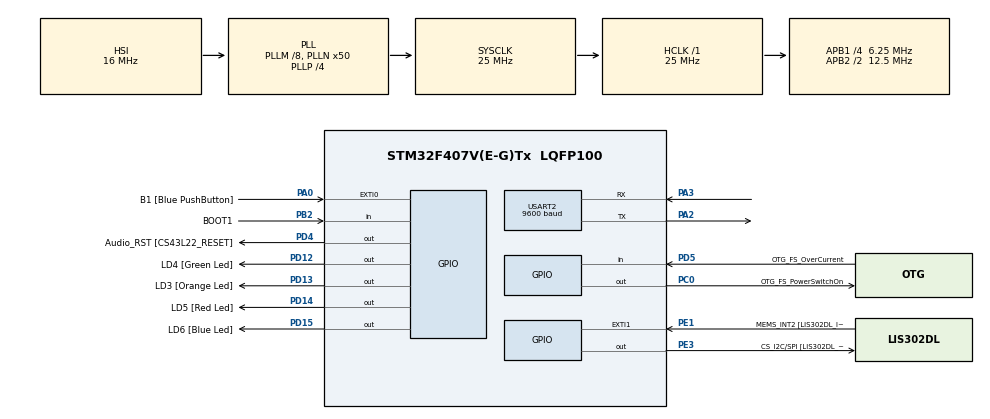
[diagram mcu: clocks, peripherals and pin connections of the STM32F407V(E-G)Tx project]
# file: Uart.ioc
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Dma.Request0=USART2_RX
Dma.Request1=USART2_TX
Dma.USART2_RX.0.Direction=DMA_PERIPH_TO_MEMORY
Dma.USART2_RX.0.FIFOMode=DMA_FIFOMODE_DISABLE
Dma.USART2_RX.0.Instance=DMA1_Stream5
Dma.USART2_RX.0.MemDataAlignment=DMA_MDATAALIGN_BYTE
Dma.USART2_RX.0.MemInc=DMA_MINC_ENABLE
Dma.USART2_RX.0.Mode=DMA_NORMAL
Dma.USART2_RX.0.PeriphDataAlignment=DMA_PDATAALIGN_BYTE
Dma.USART2_RX.0.PeriphInc=DMA_PINC_DISABLE
Dma.USART2_RX.0.Priority=DMA_PRIORITY_LOW
Dma.USART2_TX.1.Direction=DMA_MEMORY_TO_PERIPH
Dma.USART2_TX.1.FIFOMode=DMA_FIFOMODE_DISABLE
Dma.USART2_TX.1.Instance=DMA1_Stream6
Dma.USART2_TX.1.MemDataAlignment=DMA_MDATAALIGN_BYTE
Dma.USART2_TX.1.MemInc=DMA_MINC_ENABLE
Dma.USART2_TX.1.Mode=DMA_NORMAL
Dma.USART2_TX.1.PeriphDataAlignment=DMA_PDATAALIGN_BYTE
Dma.USART2_TX.1.PeriphInc=DMA_PINC_DISABLE
Dma.USART2_TX.1.Priority=DMA_PRIORITY_LOW
Mcu.Family=STM32F4
Mcu.Name=STM32F407V(E-G)Tx
Mcu.Package=LQFP100
NVIC.DMA1_Stream5_IRQn=true\:0\:0\:false\:false\:true\:false\:true
NVIC.DMA1_Stream6_IRQn=true\:0\:0\:false\:false\:true\:false\:true
NVIC.PriorityGroup=NVIC_PRIORITYGROUP_0
PA0-WKUP.GPIO_Label=B1 [Blue PushButton]
PA0-WKUP.Signal=GPXTI0
PA10.GPIO_Label=OTG_FS_ID
PA10.GPIO_Mode=GPIO_MODE_AF_PP
PA10.GPIO_PuPd=GPIO_NOPULL
PA10.GPIO_Speed=GPIO_SPEED_FREQ_LOW
PA10.Signal=USB_OTG_FS_ID
PA11.GPIO_Label=OTG_FS_DM
PA11.GPIO_Mode=GPIO_MODE_AF_PP
PA11.GPIO_PuPd=GPIO_NOPULL
PA11.GPIO_Speed=GPIO_SPEED_FREQ_LOW
PA11.Signal=USB_OTG_FS_DM
PA12.GPIO_Label=OTG_FS_DP
PA12.GPIO_Mode=GPIO_MODE_AF_PP
PA12.GPIO_PuPd=GPIO_NOPULL
PA12.GPIO_Speed=GPIO_SPEED_FREQ_LOW
PA12.Signal=USB_OTG_FS_DP
PA13.GPIO_Label=SWDIO
PA13.Signal=SYS_JTMS-SWDIO
PA14.GPIO_Label=SWCLK
PA14.Signal=SYS_JTCK-SWCLK
PA2.Mode=Asynchronous
PA2.Signal=USART2_TX
PA3.Mode=Asynchronous
PA3.Signal=USART2_RX
PA4.GPIO_Label=I2S3_WS [CS43L22_LRCK]
PA4.GPIO_Mode=GPIO_MODE_AF_PP
PA4.GPIO_PuPd=GPIO_NOPULL
PA4.GPIO_Speed=GPIO_SPEED_FREQ_LOW
PA4.Signal=I2S3_WS
PA5.GPIO_Label=SPI1_SCK [LIS302DL_SCL/SPC]
PA5.GPIO_Mode=GPIO_MODE_AF_PP
PA5.GPIO_PuPd=GPIO_NOPULL
PA5.GPIO_Speed=GPIO_SPEED_FREQ_LOW
PA5.Signal=SPI1_SCK
PA6.GPIO_Label=SPI1_MISO [LIS302DL_SDO]
PA6.GPIO_Mode=GPIO_MODE_AF_PP
PA6.GPIO_PuPd=GPIO_NOPULL
PA6.GPIO_Speed=GPIO_SPEED_FREQ_LOW
PA6.Signal=SPI1_MISO
PA7.GPIO_Label=SPI1_MOSI [LIS302DL_SDA/SDI/SDO]
PA7.GPIO_Mode=GPIO_MODE_AF_PP
PA7.GPIO_PuPd=GPIO_NOPULL
PA7.GPIO_Speed=GPIO_SPEED_FREQ_LOW
PA7.Signal=SPI1_MOSI
PA9.GPIO_Label=VBUS_FS
PA9.GPIO_Mode=GPIO_MODE_INPUT
PA9.GPIO_PuPd=GPIO_NOPULL
PA9.Signal=USB_OTG_FS_VBUS
PB10.GPIO_Label=CLK_IN [MP45DT02_CLK]
PB10.GPIO_Mode=GPIO_MODE_AF_PP
PB10.GPIO_PuPd=GPIO_NOPULL
PB10.GPIO_Speed=GPIO_SPEED_FREQ_LOW
PB10.Signal=I2S2_CK
PB2.GPIO_Label=BOOT1
PB2.GPIO_Mode=GPIO_MODE_INPUT
PB2.GPIO_PuPd=GPIO_NOPULL
PB2.Signal=GPIO_Input
PB3.GPIO_Label=SWO
PB3.Signal=SYS_JTDO-SWO
PB6.GPIO_Label=Audio_SCL [CS43L22_SCL]
PB6.GPIO_Mode=GPIO_MODE_AF_OD
PB6.GPIO_PuPd=GPIO_NOPULL
PB6.GPIO_Speed=GPIO_SPEED_FREQ_LOW
PB6.Signal=I2C1_SCL
PB9.GPIO_Label=Audio_SDA [CS43L22_SDA]
PB9.GPIO_Mode=GPIO_MODE_AF_OD
PB9.GPIO_PuPd=GPIO_NOPULL
PB9.GPIO_Speed=GPIO_SPEED_FREQ_LOW
PB9.Signal=I2C1_SDA
PC0.GPIO_Label=OTG_FS_PowerSwitchOn
PC0.GPIO_PuPd=GPIO_NOPULL
PC0.GPIO_Speed=GPIO_SPEED_FREQ_LOW
PC0.PinState=GPIO_PIN_SET
PC0.Signal=GPIO_Output
PC10.GPIO_Label=I2S3_SCK [CS43L22_SCLK]
PC10.GPIO_Mode=GPIO_MODE_AF_PP
PC10.GPIO_PuPd=GPIO_NOPULL
PC10.GPIO_Speed=GPIO_SPEED_FREQ_LOW
PC10.Signal=I2S3_CK
PC12.GPIO_Label=I2S3_SD [CS43L22_SDIN]
PC12.GPIO_Mode=GPIO_MODE_AF_PP
PC12.GPIO_PuPd=GPIO_NOPULL
PC12.GPIO_Speed=GPIO_SPEED_FREQ_LOW
PC12.Signal=I2S3_SD
PC14-OSC32_IN.GPIO_Label=PC14-OSC32_IN
PC14-OSC32_IN.Signal=RCC_OSC32_IN
PC15-OSC32_OUT.GPIO_Label=PC15-OSC32_OUT
PC15-OSC32_OUT.Signal=RCC_OSC32_OUT
PC3.GPIO_Label=PDM_OUT [MP45DT02_DOUT]
PC3.GPIO_Mode=GPIO_MODE_AF_PP
PC3.GPIO_PuPd=GPIO_NOPULL
PC3.GPIO_Speed=GPIO_SPEED_FREQ_LOW
PC3.Signal=I2S2_SD
PC7.GPIO_Label=I2S3_MCK [CS43L22_MCLK]
PC7.GPIO_Mode=GPIO_MODE_AF_PP
PC7.GPIO_PuPd=GPIO_NOPULL
PC7.GPIO_Speed=GPIO_SPEED_FREQ_LOW
PC7.Signal=I2S3_MCK
PD12.GPIO_Label=LD4 [Green Led]
PD12.GPIO_PuPd=GPIO_NOPULL
PD12.GPIO_Speed=GPIO_SPEED_FREQ_LOW
PD12.Signal=GPIO_Output
PD13.GPIO_Label=LD3 [Orange Led]
PD13.GPIO_PuPd=GPIO_NOPULL
PD13.GPIO_Speed=GPIO_SPEED_FREQ_LOW
PD13.Signal=GPIO_Output
PD14.GPIO_Label=LD5 [Red Led]
PD14.GPIO_PuPd=GPIO_NOPULL
PD14.GPIO_Speed=GPIO_SPEED_FREQ_LOW
PD14.Signal=GPIO_Output
PD15.GPIO_Label=LD6 [Blue Led]
PD15.GPIO_PuPd=GPIO_NOPULL
PD15.GPIO_Speed=GPIO_SPEED_FREQ_LOW
PD15.Signal=GPIO_Output
PD4.GPIO_Label=Audio_RST [CS43L22_RESET]
PD4.GPIO_PuPd=GPIO_NOPULL
PD4.GPIO_Speed=GPIO_SPEED_FREQ_LOW
PD4.Signal=GPIO_Output
PD5.GPIO_Label=OTG_FS_OverCurrent
PD5.GPIO_Mode=GPIO_MODE_INPUT
PD5.GPIO_PuPd=GPIO_NOPULL
PD5.Signal=GPIO_Input
PE1.GPIO_Label=MEMS_INT2 [LIS302DL_INT2]
PE1.GPIO_ModeDefaultEXTI=GPIO_MODE_EVT_RISING
PE1.GPIO_PuPd=GPIO_NOPULL
PE1.Signal=GPXTI1
PE3.GPIO_Label=CS_I2C/SPI [LIS302DL_CS_I2C/SPI]
PE3.GPIO_PuPd=GPIO_NOPULL
PE3.GPIO_Speed=GPIO_SPEED_FREQ_LOW
PE3.Signal=GPIO_Output
PH0-OSC_IN.GPIO_Label=PH0-OSC_IN
PH0-OSC_IN.Signal=RCC_OSC_IN
PH1-OSC_OUT.GPIO_Label=PH1-OSC_OUT
PH1-OSC_OUT.Signal=RCC_OSC_OUT
ProjectManager.HeapSize=0x200
ProjectManager.StackSize=0x400
ProjectManager.TargetToolchain=MDK-ARM V5.32
RCC.48MHZClocksFreq_Value=14285714.285714285
RCC.AHBFreq_Value=25000000
RCC.APB1CLKDivider=RCC_HCLK_DIV4
RCC.APB1Freq_Value=6250000
RCC.APB1TimFreq_Value=12500000
RCC.APB2CLKDivider=RCC_HCLK_DIV2
RCC.APB2Freq_Value=12500000
RCC.APB2TimFreq_Value=25000000
RCC.CortexFreq_Value=25000000
RCC.HCLKFreq_Value=25000000
RCC.HSE_VALUE=8000000
RCC.HSI_VALUE=16000000
RCC.LSE_VALUE=32768
RCC.PLLM=8
RCC.PLLN=50
RCC.PLLP=RCC_PLLP_DIV4
RCC.PLLQ=7
RCC.SYSCLKFreq_VALUE=25000000
RCC.SYSCLKSource=RCC_SYSCLKSOURCE_PLLCLK
RCC.VCOOutputFreq_Value=100000000
USART2.BaudRate=9600
USART2.VirtualMode=VM_ASYNC
board=STM32F407G-DISC1

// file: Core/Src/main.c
/* USER CODE BEGIN Header */
/**
  ******************************************************************************
  * @file           : main.c
  * @brief          : Main program body
  ******************************************************************************
  * @attention
  *
  * Copyright (c) 2024 STMicroelectronics.
  * All rights reserved.
  *
  * This software is licensed under terms that can be found in the LICENSE file
  * in the root directory of this software component.
  * If no LICENSE file comes with this software, it is provided AS-IS.
  *
  ******************************************************************************
  */
/* USER CODE END Header */
#include "main.h"

/* USER CODE BEGIN PD */
#define PD14_off HAL_GPIO_WritePin(GPIOD, GPIO_PIN_14, GPIO_PIN_RESET)
#define PD14_on HAL_GPIO_WritePin(GPIOD, GPIO_PIN_14, GPIO_PIN_SET)
#define LD_Red_on PD14_on
#define LD_Red_off PD14_off

#define PD12_off HAL_GPIO_WritePin(GPIOD, GPIO_PIN_12, GPIO_PIN_RESET)
#define PD12_on HAL_GPIO_WritePin(GPIOD, GPIO_PIN_12, GPIO_PIN_SET)
#define LD_Green_on PD12_on
#define LD_Green_off PD12_off
/* USER CODE END PD */

UART_HandleTypeDef huart2;
UART_HandleTypeDef huart1;
DMA_HandleTypeDef hdma_usart2_rx;
DMA_HandleTypeDef hdma_usart2_tx;

void SystemClock_Config(void);
static void MX_GPIO_Init(void);
static void MX_DMA_Init(void);
static void MX_USART2_UART_Init(void);
void My_USART1_UART_Iniy();
void delay();

/* USER CODE BEGIN 0 */
//void port_ini(void)	{
//        RCC->AHB1ENR |= RCC_AHB1ENR_GPIODEN;
//        GPIOD->MODER = 0x55000000; //on 12-15 PIN for out
//        GPIOD->OTYPER = 0;
//        GPIOD->OSPEEDR = 0;
//        GPIOD->ODR = 0;
//}
//void toggle_led(GPIO_TypeDef* GPIOx, uint16_t GPIO_Pin)
//{
//  HAL_GPIO_TogglePin(GPIOx, GPIO_Pin);
//}
//	char buffer[100];
/* USER CODE END 0 */

int main(void)
{
  /* USER CODE BEGIN 1 */
	RCC->APB1ENR |= RCC_APB1ENR_USART2EN;

	USART2->CR1 = USART_CR1_UE;

	USART2->CR1 |= USART_CR1_TE; // On USART

	USART2->CR1 |= USART_CR1_RE | USART_CR1_RXNEIE;

	USART1->CR1 = USART_CR1_UE;

	USART1->CR1 = USART_CR1_TE;// on usart1

	USART1->CR1 |= USART_CR1_RE | USART_CR1_RXNEIE;
  /* USER CODE END 1 */

  /* MCU Configuration--------------------------------------------------------*/

  /* Reset of all peripherals, Initializes the Flash interface and the Systick. */
  HAL_Init();

  /* Configure the system clock */
  SystemClock_Config();

  /* Initialize all configured peripherals */
  MX_GPIO_Init();
  MX_DMA_Init();
  MX_USART2_UART_Init();
	My_USART1_UART_Iniy();
  /* USER CODE BEGIN 2 */
	char ledOne[] = "on led1\r\n";
	char ledOneOff[] = "off led1\r\n";
	//port_ini();
	char ledTwo[] = "on led2\r\n";
	char ledTwoOff[] = "off led2\r\n";
	char testPackpage[] = "A";

	//LD_Green_on;
//	HAL_Delay(3000);
//	strcpy(buffer, ledOne);
	//HAL_UART_Receive_IT(&huart2, (uint8_t*)buffer, 1); // On pause for input first symbol
  /* USER CODE END 2 */

  /* Infinite loop */
  /* USER CODE BEGIN WHILE */
	uint8_t checkBit;
	uint8_t bit7Value;
	USART2->CR1 |= 1 << 3;
	USART2->CR1 |= 1 << 13;
	USART2->CR1 |= 0 << 8;
	USART2->CR1 |= 0 << 7;
	USART2->CR1 |= 0 << 6;

while (1)
  {
		GPIOC->ODR |= 1;

		//checkBit = USART2->SR ;
		bit7Value = (1 << 6) &USART2->SR;
		if(bit7Value)
		{
			LD_Red_on;
			USART2->DR = 0xF0;
			if(USART2->SR &USART_SR_RXNE) { // if byte input true
				// read input byte
				char d = ~USART2->DR;

				while((USART2->SR & USART_SR_TXE) == 0)  // if register for byte not free, wait her free
				{
					USART2->DR = d;
				}

			LD_Green_on;
				delay();

			} else {
				LD_Red_off;
			}
			HAL_Delay(1);
			GPIOC->ODR &= ~1;
			HAL_Delay(10);
		}
}
}

void SystemClock_Config(void)
{
  RCC_OscInitTypeDef RCC_OscInitStruct = {0};
  RCC_ClkInitTypeDef RCC_ClkInitStruct = {0};

  /** Configure the main internal regulator output voltage
  */
  __HAL_RCC_PWR_CLK_ENABLE();
  __HAL_PWR_VOLTAGESCALING_CONFIG(PWR_REGULATOR_VOLTAGE_SCALE1);
  /** Initializes the RCC Oscillators according to the specified parameters
  * in the RCC_OscInitTypeDef structure.
  */
  RCC_OscInitStruct.OscillatorType = RCC_OSCILLATORTYPE_HSI;
  RCC_OscInitStruct.HSIState = RCC_HSI_ON;
  RCC_OscInitStruct.HSICalibrationValue = RCC_HSICALIBRATION_DEFAULT;
  RCC_OscInitStruct.PLL.PLLState = RCC_PLL_ON;
  RCC_OscInitStruct.PLL.PLLSource = RCC_PLLSOURCE_HSI;
  RCC_OscInitStruct.PLL.PLLM = 8;
  RCC_OscInitStruct.PLL.PLLN = 50;
  RCC_OscInitStruct.PLL.PLLP = RCC_PLLP_DIV4;
  RCC_OscInitStruct.PLL.PLLQ = 7;
  if (HAL_RCC_OscConfig(&RCC_OscInitStruct) != HAL_OK)
  {
    Error_Handler();
  }
  /** Initializes the CPU, AHB and APB buses clocks
  */
  RCC_ClkInitStruct.ClockType = RCC_CLOCKTYPE_HCLK|RCC_CLOCKTYPE_SYSCLK
                              |RCC_CLOCKTYPE_PCLK1|RCC_CLOCKTYPE_PCLK2;
  RCC_ClkInitStruct.SYSCLKSource = RCC_SYSCLKSOURCE_PLLCLK;
  RCC_ClkInitStruct.AHBCLKDivider = RCC_SYSCLK_DIV1;
  RCC_ClkInitStruct.APB1CLKDivider = RCC_HCLK_DIV4;
  RCC_ClkInitStruct.APB2CLKDivider = RCC_HCLK_DIV2;

  if (HAL_RCC_ClockConfig(&RCC_ClkInitStruct, FLASH_LATENCY_0) != HAL_OK)
  {
    Error_Handler();
  }
}

static void MX_USART2_UART_Init(void)
{

  huart2.Instance = USART2;
  huart2.Init.BaudRate = 9600;
  huart2.Init.WordLength = UART_WORDLENGTH_8B;
  huart2.Init.StopBits = UART_STOPBITS_1;
  huart2.Init.Parity = UART_PARITY_NONE;
  huart2.Init.Mode = UART_MODE_TX;
  huart2.Init.HwFlowCtl = UART_HWCONTROL_NONE;
  huart2.Init.OverSampling = UART_OVERSAMPLING_16;
  if (HAL_UART_Init(&huart2) != HAL_OK)
  {
    Error_Handler();
  }

}

static void MX_DMA_Init(void)
{

  /* DMA controller clock enable */
  __HAL_RCC_DMA1_CLK_ENABLE();

  /* DMA interrupt init */
  /* DMA1_Stream5_IRQn interrupt configuration */
  HAL_NVIC_SetPriority(DMA1_Stream5_IRQn, 0, 0);
  HAL_NVIC_EnableIRQ(DMA1_Stream5_IRQn);
  /* DMA1_Stream6_IRQn interrupt configuration */
  HAL_NVIC_SetPriority(DMA1_Stream6_IRQn, 0, 0);
  HAL_NVIC_EnableIRQ(DMA1_Stream6_IRQn);

}

static void MX_GPIO_Init(void)
{
  GPIO_InitTypeDef GPIO_InitStruct = {0};

  /* GPIO Ports Clock Enable */
  __HAL_RCC_GPIOE_CLK_ENABLE();
  __HAL_RCC_GPIOC_CLK_ENABLE();
  __HAL_RCC_GPIOH_CLK_ENABLE();
  __HAL_RCC_GPIOA_CLK_ENABLE();
  __HAL_RCC_GPIOB_CLK_ENABLE();
  __HAL_RCC_GPIOD_CLK_ENABLE();

  /*Configure GPIO pin Output Level */
  HAL_GPIO_WritePin(CS_I2C_SPI_GPIO_Port, CS_I2C_SPI_Pin, GPIO_PIN_RESET);

  /*Configure GPIO pin Output Level */
  HAL_GPIO_WritePin(OTG_FS_PowerSwitchOn_GPIO_Port, OTG_FS_PowerSwitchOn_Pin, GPIO_PIN_SET);

  /*Configure GPIO pin Output Level */
  HAL_GPIO_WritePin(GPIOD, LD4_Pin|LD3_Pin|LD5_Pin|LD6_Pin
                          |Audio_RST_Pin, GPIO_PIN_RESET);

  /*Configure GPIO pin : CS_I2C_SPI_Pin */
  GPIO_InitStruct.Pin = CS_I2C_SPI_Pin;
  GPIO_InitStruct.Mode = GPIO_MODE_OUTPUT_PP;
  GPIO_InitStruct.Pull = GPIO_NOPULL;
  GPIO_InitStruct.Speed = GPIO_SPEED_FREQ_LOW;
  HAL_GPIO_Init(CS_I2C_SPI_GPIO_Port, &GPIO_InitStruct);

  /*Configure GPIO pin : OTG_FS_PowerSwitchOn_Pin */
  GPIO_InitStruct.Pin = OTG_FS_PowerSwitchOn_Pin;
  GPIO_InitStruct.Mode = GPIO_MODE_OUTPUT_PP;
  GPIO_InitStruct.Pull = GPIO_NOPULL;
  GPIO_InitStruct.Speed = GPIO_SPEED_FREQ_LOW;
  HAL_GPIO_Init(OTG_FS_PowerSwitchOn_GPIO_Port, &GPIO_InitStruct);

  /*Configure GPIO pin : PDM_OUT_Pin */
  GPIO_InitStruct.Pin = PDM_OUT_Pin;
  GPIO_InitStruct.Mode = GPIO_MODE_AF_PP;
  GPIO_InitStruct.Pull = GPIO_NOPULL;
  GPIO_InitStruct.Speed = GPIO_SPEED_FREQ_LOW;
  GPIO_InitStruct.Alternate = GPIO_AF5_SPI2;
  HAL_GPIO_Init(PDM_OUT_GPIO_Port, &GPIO_InitStruct);

  /*Configure GPIO pin : B1_Pin */
  GPIO_InitStruct.Pin = B1_Pin;
  GPIO_InitStruct.Mode = GPIO_MODE_IT_RISING;
  GPIO_InitStruct.Pull = GPIO_NOPULL;
  HAL_GPIO_Init(B1_GPIO_Port, &GPIO_InitStruct);

  /*Configure GPIO pin : I2S3_WS_Pin */
  GPIO_InitStruct.Pin = I2S3_WS_Pin;
  GPIO_InitStruct.Mode = GPIO_MODE_AF_PP;
  GPIO_InitStruct.Pull = GPIO_NOPULL;
  GPIO_InitStruct.Speed = GPIO_SPEED_FREQ_LOW;
  GPIO_InitStruct.Alternate = GPIO_AF6_SPI3;
  HAL_GPIO_Init(I2S3_WS_GPIO_Port, &GPIO_InitStruct);

  /*Configure GPIO pins : SPI1_SCK_Pin SPI1_MISO_Pin SPI1_MOSI_Pin */
  GPIO_InitStruct.Pin = SPI1_SCK_Pin|SPI1_MISO_Pin|SPI1_MOSI_Pin;
  GPIO_InitStruct.Mode = GPIO_MODE_AF_PP;
  GPIO_InitStruct.Pull = GPIO_NOPULL;
  GPIO_InitStruct.Speed = GPIO_SPEED_FREQ_LOW;
  GPIO_InitStruct.Alternate = GPIO_AF5_SPI1;
  HAL_GPIO_Init(GPIOA, &GPIO_InitStruct);

  /*Configure GPIO pin : BOOT1_Pin */
  GPIO_InitStruct.Pin = BOOT1_Pin;
  GPIO_InitStruct.Mode = GPIO_MODE_INPUT;
  GPIO_InitStruct.Pull = GPIO_NOPULL;
  HAL_GPIO_Init(BOOT1_GPIO_Port, &GPIO_InitStruct);

  /*Configure GPIO pin : CLK_IN_Pin */
  GPIO_InitStruct.Pin = CLK_IN_Pin;
  GPIO_InitStruct.Mode = GPIO_MODE_AF_PP;
  GPIO_InitStruct.Pull = GPIO_NOPULL;
  GPIO_InitStruct.Speed = GPIO_SPEED_FREQ_LOW;
  GPIO_InitStruct.Alternate = GPIO_AF5_SPI2;
  HAL_GPIO_Init(CLK_IN_GPIO_Port, &GPIO_InitStruct);

  /*Configure GPIO pins : LD4_Pin LD3_Pin LD5_Pin LD6_Pin
                           Audio_RST_Pin */
  GPIO_InitStruct.Pin = LD4_Pin|LD3_Pin|LD5_Pin|LD6_Pin
                          |Audio_RST_Pin;
  GPIO_InitStruct.Mode = GPIO_MODE_OUTPUT_PP;
  GPIO_InitStruct.Pull = GPIO_NOPULL;
  GPIO_InitStruct.Speed = GPIO_SPEED_FREQ_LOW;
  HAL_GPIO_Init(GPIOD, &GPIO_InitStruct);

  /*Configure GPIO pins : I2S3_MCK_Pin I2S3_SCK_Pin I2S3_SD_Pin */
  GPIO_InitStruct.Pin = I2S3_MCK_Pin|I2S3_SCK_Pin|I2S3_SD_Pin;
  GPIO_InitStruct.Mode = GPIO_MODE_AF_PP;
  GPIO_InitStruct.Pull = GPIO_NOPULL;
  GPIO_InitStruct.Speed = GPIO_SPEED_FREQ_LOW;
  GPIO_InitStruct.Alternate = GPIO_AF6_SPI3;
  HAL_GPIO_Init(GPIOC, &GPIO_InitStruct);

  /*Configure GPIO pin : VBUS_FS_Pin */
  GPIO_InitStruct.Pin = VBUS_FS_Pin;
  GPIO_InitStruct.Mode = GPIO_MODE_INPUT;
  GPIO_InitStruct.Pull = GPIO_NOPULL;
  HAL_GPIO_Init(VBUS_FS_GPIO_Port, &GPIO_InitStruct);

  /*Configure GPIO pins : OTG_FS_ID_Pin OTG_FS_DM_Pin OTG_FS_DP_Pin */
  GPIO_InitStruct.Pin = OTG_FS_ID_Pin|OTG_FS_DM_Pin|OTG_FS_DP_Pin;
  GPIO_InitStruct.Mode = GPIO_MODE_AF_PP;
  GPIO_InitStruct.Pull = GPIO_NOPULL;
  GPIO_InitStruct.Speed = GPIO_SPEED_FREQ_LOW;
  GPIO_InitStruct.Alternate = GPIO_AF10_OTG_FS;
  HAL_GPIO_Init(GPIOA, &GPIO_InitStruct);

  /*Configure GPIO pin : OTG_FS_OverCurrent_Pin */
  GPIO_InitStruct.Pin = OTG_FS_OverCurrent_Pin;
  GPIO_InitStruct.Mode = GPIO_MODE_INPUT;
  GPIO_InitStruct.Pull = GPIO_NOPULL;
  HAL_GPIO_Init(OTG_FS_OverCurrent_GPIO_Port, &GPIO_InitStruct);

  /*Configure GPIO pins : Audio_SCL_Pin Audio_SDA_Pin */
  GPIO_InitStruct.Pin = Audio_SCL_Pin|Audio_SDA_Pin;
  GPIO_InitStruct.Mode = GPIO_MODE_AF_OD;
  GPIO_InitStruct.Pull = GPIO_NOPULL;
  GPIO_InitStruct.Speed = GPIO_SPEED_FREQ_LOW;
  GPIO_InitStruct.Alternate = GPIO_AF4_I2C1;
  HAL_GPIO_Init(GPIOB, &GPIO_InitStruct);

  /*Configure GPIO pin : MEMS_INT2_Pin */
  GPIO_InitStruct.Pin = MEMS_INT2_Pin;
  GPIO_InitStruct.Mode = GPIO_MODE_EVT_RISING;
  GPIO_InitStruct.Pull = GPIO_NOPULL;
  HAL_GPIO_Init(MEMS_INT2_GPIO_Port, &GPIO_InitStruct);

}

/* USER CODE BEGIN 4 */
//void HAL_UART_RxCpltCallback(UART_HandleTypeDef *huart)
//{
//	if(huart->Instance == USART2) {
//		static uint8_t count = 0;
//		if(buffer[count - 1] == '\r') {
//			if(strstr(buffer, "on led1") != NULL) {
//				HAL_GPIO_WritePin(GPIOD, GPIO_PIN_12, GPIO_PIN_SET);//on led
//			}
//			else if(strstr(buffer, "on led2") != NULL) {
//				toggle_led(GPIOD, GPIO_PIN_12); //off led
//			}
//			count = 0;
//		} else {
//			buffer[count++] = huart->Instance->DR; //save symbol in buffer
//		}
//		HAL_UART_Receive_IT(&huart2, (uint8_t*)&buffer[count], 1); //in pause for input new symbol
//	}
//}
void My_USART1_UART_Iniy() {

	/* USER CODE BEGIN USART2_Init 0 */

  /* USER CODE END USART2_Init 0 */

  /* USER CODE BEGIN USART2_Init 1 */
huart1.Instance = USART2;
  huart1.Init.BaudRate = 9600;
  huart1.Init.WordLength = UART_WORDLENGTH_8B;
  huart1.Init.StopBits = UART_STOPBITS_1;
  huart1.Init.Parity = UART_PARITY_NONE;
  huart1.Init.Mode = UART_MODE_TX;
  huart1.Init.HwFlowCtl = UART_HWCONTROL_NONE;
  huart1.Init.OverSampling = UART_OVERSAMPLING_16;
  if (HAL_UART_Init(&huart1) != HAL_OK)
  {
    Error_Handler();
  }
  /* USER CODE END USART2_Init 1 */

  /* USER CODE BEGIN USART2_Init 2 */

  /* USER CODE END USART2_Init 2 */

}
void delay() {
	for(int i =0; i < 1000000; i++) {}
}
/* USER CODE END 4 */

void Error_Handler(void)
{
  __disable_irq();
  while (1)
  {
  }
}
